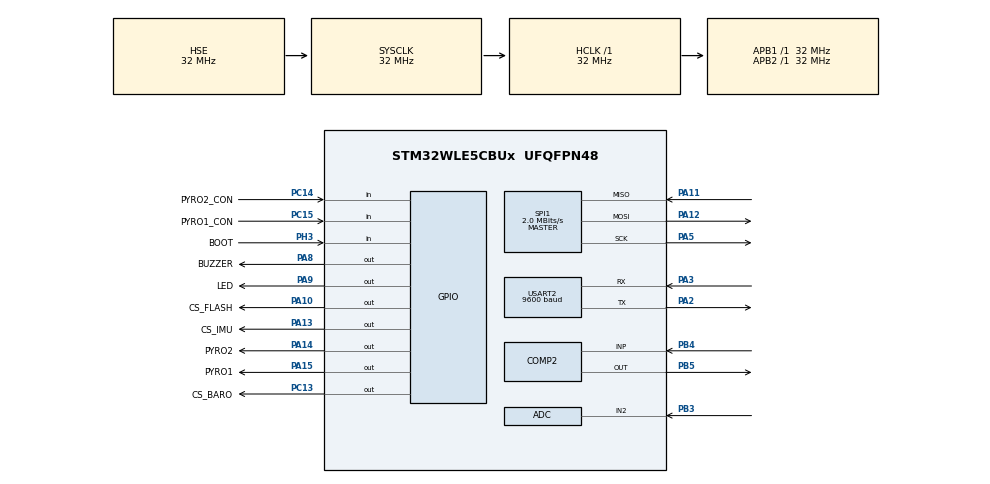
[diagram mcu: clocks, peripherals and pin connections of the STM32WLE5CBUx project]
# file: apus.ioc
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ADC.NbrOfConversion=1
ADC.SelectedChannel=ADC_CHANNEL_2|ADC_CHANNEL_VBAT
COMP2.OutputPol=COMP_OUTPUTPOL_NONINVERTED
Mcu.Family=STM32WL
Mcu.Name=STM32WLE5CBUx
Mcu.Package=UFQFPN48
NVIC.PriorityGroup=NVIC_PRIORITYGROUP_4
OSC_IN.Mode=HSE-External-Oscillator
OSC_IN.Signal=RCC_OSC_IN
OSC_OUT.Mode=HSE-External-Oscillator
OSC_OUT.Signal=RCC_OSC_OUT
PA10.GPIO_Label=CS_FLASH
PA10.Signal=GPIO_Output
PA11.Mode=Full_Duplex_Master
PA11.Signal=SPI1_MISO
PA12.Mode=Full_Duplex_Master
PA12.Signal=SPI1_MOSI
PA13.GPIO_Label=CS_IMU
PA13.Signal=GPIO_Output
PA14.GPIO_Label=PYRO2
PA14.Signal=GPIO_Output
PA15.GPIO_Label=PYRO1
PA15.Signal=GPIO_Output
PA2.Mode=Asynchronous
PA2.Signal=USART2_TX
PA3.Mode=Asynchronous
PA3.Signal=USART2_RX
PA5.Mode=Full_Duplex_Master
PA5.Signal=SPI1_SCK
PA8.GPIO_Label=BUZZER
PA8.Signal=GPIO_Output
PA9.GPIO_Label=LED
PA9.Signal=GPIO_Output
PB3.Mode=IN2
PB3.Signal=ADC_IN2
PB4.Mode=INP
PB4.Signal=COMP2_INP
PB5.Mode=ExternalOutput
PB5.Signal=COMP2_OUT
PC13.GPIO_Label=CS_BARO
PC13.Signal=GPIO_Output
PC14-OSC32_IN.GPIO_Label=PYRO2_CON
PC14-OSC32_IN.Signal=GPIO_Input
PC15-OSC32_OUT.GPIO_Label=PYRO1_CON
PC15-OSC32_OUT.Signal=GPIO_Input
PH3-BOOT0.GPIO_Label=BOOT
PH3-BOOT0.Signal=GPIO_Input
ProjectManager.HeapSize=0x200
ProjectManager.StackSize=0x400
ProjectManager.TargetToolchain=STM32CubeIDE
RCC.AHBFreq_Value=32000000
RCC.APB1Freq_Value=32000000
RCC.APB1TimFreq_Value=32000000
RCC.APB2Freq_Value=32000000
RCC.APB2TimFreq_Value=32000000
RCC.APB3Freq_Value=32000000
RCC.CortexFreq_Value=32000000
RCC.HCLKFreq_Value=32000000
RCC.HSE_VALUE=32000000
RCC.HSI_VALUE=16000000
RCC.LSE_VALUE=32768
RCC.PLLM=RCC_PLLM_DIV2
RCC.PLLN=12
RCC.PLLR=RCC_PLLR_DIV8
RCC.PLLSourceVirtual=RCC_PLLSOURCE_HSE
RCC.SYSCLKFreq_VALUE=32000000
RCC.SYSCLKSource=RCC_SYSCLKSOURCE_HSE
RCC.VCOOutputFreq_Value=192000000
SPI1.BaudRatePrescaler=SPI_BAUDRATEPRESCALER_16
SPI1.CalculateBaudRate=2.0 MBits/s
SPI1.DataSize=SPI_DATASIZE_8BIT
SPI1.Direction=SPI_DIRECTION_2LINES
SPI1.Mode=SPI_MODE_MASTER
SPI1.VirtualType=VM_MASTER
SUBGHZ.BaudratePrescaler=SUBGHZSPI_BAUDRATEPRESCALER_2
TIM2.AutoReloadPreload=TIM_AUTORELOAD_PRELOAD_DISABLE
TIM2.Prescaler=32
USART2.BaudRate=9600
USART2.VirtualMode-Asynchronous=VM_ASYNC
VP_ADC_Vbat_Input.Mode=IN-Vbat
VP_COMP2_VS_VREFINT34.Mode=VREFINT_34
VP_CRC_VS_CRC.Mode=CRC_Activate
VP_SUBGHZ_VS_SUBGHZ.Mode=SUBGHZ_Activate
VP_TIM2_VS_ClockSourceINT.Mode=Internal
VP_VREFBUF_V_VREFBUF.Mode=HoldMode
VREFBUF.VoltageScaling=SYSCFG_VREFBUF_VOLTAGE_SCALE0
board=custom

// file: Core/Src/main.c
/* USER CODE BEGIN Header */
/**
 ******************************************************************************
 * @file           : main.c
 * @brief          : Main program body
 ******************************************************************************
 * @attention
 *
 * Copyright (c) 2023 STMicroelectronics.
 * All rights reserved.
 *
 * This software is licensed under terms that can be found in the LICENSE file
 * in the root directory of this software component.
 * If no LICENSE file comes with this software, it is provided AS-IS.
 *
 ******************************************************************************
 */
/* USER CODE END Header */
#include "main.h"

/* USER CODE BEGIN Includes */
#include <stdbool.h>
#include <string.h>
#include <math.h>
#include <stdio.h>

/* USER CODE END Includes */

ADC_HandleTypeDef hadc;

COMP_HandleTypeDef hcomp2;

CRC_HandleTypeDef hcrc;

SPI_HandleTypeDef hspi1;

SUBGHZ_HandleTypeDef hsubghz;

TIM_HandleTypeDef htim2;

UART_HandleTypeDef huart2;

void SystemClock_Config(void);
static void MX_GPIO_Init(void);
static void MX_ADC_Init(void);
static void MX_CRC_Init(void);
static void MX_COMP2_Init(void);
static void MX_SPI1_Init(void);
static void MX_USART2_UART_Init(void);
static void MX_TIM2_Init(void);
/* USER CODE BEGIN PFP */

void SetStandbyXOSC();
void SetPacketTypeLora();
void SetPacketTypeFSK();
uint32_t ComputeRfFreq(double frequencyMhz);
void SetRfFreq(uint32_t rfFreq);
void SetPaLowPower();
void SetPa22dB();
void SetTxPower(int8_t powerdBm);
void SetContinuousWave();
void SetTxInfinitePreamble();
void SetTx(uint32_t timeout);
void SetRx(uint32_t timeout);
void SetModulationParamsLora(const uint8_t params[4]);
void SetModulationParamsFSK(uint32_t bitrate, uint8_t pulseshape,
		uint8_t bandwidth, uint32_t freq_dev);
void SetPacketParamsLora(uint16_t preamble_length, bool header_fixed,
		uint8_t payload_length, bool crc_enabled, bool invert_iq);
void SetPacketParamsGeneric(uint16_t preamble_length,
		uint8_t preamble_det_length, uint8_t sync_length, uint8_t addr_comp,
		uint8_t pkt_type, uint8_t payloadlength, uint8_t crc_type,
		uint8_t whitening);
void FSKBeep(int8_t powerdBm, uint32_t toneHz, uint32_t lengthMs);
void CWBeep(int8_t powerdBm, uint32_t lengthMs);

/* USER CODE END PFP */

/* USER CODE BEGIN 0 */

// standard frequencies. Note: zero indexed.
const double LPD433[69] = { 433.075, 433.100, 433.125, 433.150, 433.175,
		433.200, 433.225, 433.250, 433.275,
		433.300, // 1-10
		433.325, 433.350, 433.375, 433.400, 433.425, 433.450, 433.475, 433.500,
		433.525,
		433.550, // 11-20
		433.575, 433.600, 433.625, 433.650, 433.675, 433.700, 433.725, 433.750,
		433.775,
		433.800, // 21-30
		433.825, 433.850, 433.875, 433.900, 433.925, 433.950, 433.975, 434.000,
		434.025,
		434.050, // 31-40
		434.075, 434.100, 434.125, 434.150, 434.175, 434.200, 434.225, 434.250,
		434.275,
		434.300, // 41-50
		434.325, 434.350, 434.375, 434.400, 434.425, 434.450, 434.475, 434.500,
		434.525,
		434.550, // 51-60
		434.575, 434.600, 434.625, 434.650, 434.675, 434.700, 434.725, 434.750,
		434.775           // 61-69
		};

const double PMR446[16] = { 446.00625, 446.01875, 446.03125, 446.04375,
		446.05625, // 1-5
		446.06875, 446.08125, 446.09375, 446.10625, 446.11875, // 6-10
		446.13125, 446.14375, 446.15625, 446.16875, 446.18125, // 11-15
		446.19375 // 16
		};

const double FRS[22] = { 462.5625, 462.5875, 462.6125, 462.6375, 462.6625,
		462.6875, 462.7125, 467.5625, 467.5875,
		467.6125, // 1-10
		467.6375, 467.6625, 467.6875, 467.7125, 462.5500, 462.5750, 462.6000,
		462.6250, 462.6500, 462.6750, // 11-20
		462.7000, 462.7250 // 21-22
		};

// letter to morse based on ASCII characters.
// right-terminated by a "1". 1 is dah, 0 is dit.
const uint8_t morse_chars[] = { 0b11111111,       // Special code for SPACE
		0b10000000,       // N/A
		0b10000000,       // N/A
		0b10000000,       // N/A
		0b10000000,       // N/A
		0b10000000,       // N/A
		0b10000000,       // N/A
		0b10000000,       // N/A
		0b10000000,       // N/A
		0b10000000,       // N/A
		0b10000000,       // N/A
		0b10000000,       // N/A
		0b10000000,       // N/A
		0b10000110,       // - Hyphen sign
		0b10000000,       // N/A
		0b10010100,       // "/" Slash
		0b11111100,       // "0"
		0b01111100,       // "1"
		0b00111100,       // "2"
		0b00011100,       // "3"
		0b00001100,       // "4"
		0b00000100,       // "5"
		0b10000100,       // "6"
		0b11000100,       // "7"
		0b11100100,       // "8"
		0b11110100,       // "9"
		0b10000000,       // N/A
		0b10000000,       // N/A
		0b10000000,       // N/A
		0b10001100,       // "=" BT prosign/Equal sign
		0b10000000,       // N/A
		0b00110010,       // "?" Question mark
		0b10000000,       // N/A
		0b01100000,       // "A"
		0b10001000,       // "B"
		0b10101000,       // "C"
		0b10010000,       // "D"
		0b01000000,       // "E"
		0b00101000,       // "F"
		0b11010000,       // "G"
		0b00001000,       // "H"
		0b00100000,       // "I"
		0b01111000,       // "J"
		0b10110000,       // "K"
		0b01001000,       // "L"
		0b11100000,       // "M"
		0b10100000,       // "N"
		0b11110000,       // "O"
		0b01101000,       // "P"
		0b11011000,       // "Q"
		0b01010000,       // "R"
		0b00010000,       // "S"
		0b11000000,       // "T"
		0b00110000,       // "U"
		0b00011000,       // "V"
		0b01110000,       // "W"
		0b10011000,       // "X"
		0b10111000,       // "Y"
		0b11001000,       // "Z"
		0b10000000,       // N/A
		0b10000000,       // N/A
		0b10000000,       // N/A
		0b10000000,       // N/A
		0b10000000,       // N/A
		0b10000000,       // N/A
		0b01100000,       // "a"
		0b10001000,       // "b"
		0b10101000,       // "c"
		0b10010000,       // "d"
		0b01000000,       // "e"
		0b00101000,       // "f"
		0b11010000,       // "g"
		0b00001000,       // "h"
		0b00100000,       // "i"
		0b01111000,       // "j"
		0b10110000,       // "k"
		0b01001000,       // "l"
		0b11100000,       // "m"
		0b10100000,       // "n"
		0b11110000,       // "o"
		0b01101000,       // "p"
		0b11011000,       // "q"
		0b01010000,       // "r"
		0b00010000,       // "s"
		0b11000000,       // "t"
		0b00110000,       // "u"
		0b00011000,       // "v"
		0b01110000,       // "w"
		0b10011000,       // "x"
		0b10111000,       // "y"
		0b11001000        // "z"
		};

void LED_on() {
	HAL_GPIO_WritePin(LED_GPIO_Port, LED_Pin, GPIO_PIN_SET);
}
void LED_off() {
	HAL_GPIO_WritePin(LED_GPIO_Port, LED_Pin, GPIO_PIN_RESET);
}

void BUZZER_on() {
	HAL_GPIO_WritePin(BUZZER_GPIO_Port, BUZZER_Pin, GPIO_PIN_SET);
}
void BUZZER_off() {
	HAL_GPIO_WritePin(BUZZER_GPIO_Port, BUZZER_Pin, GPIO_PIN_RESET);
}

// https://en.wikipedia.org/wiki/Morse_code#/media/File:International_Morse_Code.svg
uint32_t morse_unit_ms = 70;
int8_t morse_power = 10;

void play_morse_char(uint8_t ascii_letter, bool use_cw) {
	uint8_t morse_code = 0b11111111;
	if (ascii_letter > 31 && ascii_letter < 123) {
		morse_code = morse_chars[ascii_letter - 32];
	}

	// space
	if (morse_code == 0b11111111) {
		if (use_cw) {
			HAL_Delay(morse_unit_ms);
		} else {
			//FSKBeep(morse_power, 750, morse_unit_ms);
			HAL_Delay(morse_unit_ms);
		}
		return;
	}
	uint8_t terminatelen = 0;
	for (uint8_t idx = 0; idx < 8; idx++) {
		if (morse_code & (1 << idx)) {
			terminatelen = idx;
			break;
		}
	}

	for (uint8_t i = 7; i > terminatelen; i--) {
		LED_on();
		if (morse_code & (1 << i)) {
			// make dat
			//printf("-");
			if (use_cw) {
				CWBeep(morse_power, morse_unit_ms * 3);
			} else {
				FSKBeep(morse_power, 400, morse_unit_ms * 3);
			}
		} else {
			// make dit
			//printf(".");
			if (use_cw) {
				CWBeep(morse_power, morse_unit_ms);
			} else {
				FSKBeep(morse_power, 400, morse_unit_ms);
			}
		}
		LED_off();

		// Make delay.
		if (use_cw) {
			HAL_Delay(morse_unit_ms);
		} else {
			HAL_Delay(morse_unit_ms);
			//CWBeep(morse_power, morse_unit_ms);
		}
	}
}

void play_morse_word(uint8_t *letters, uint8_t len, bool use_cw) {
	for (uint8_t i = 0; i < len; i++) {
		play_morse_char(letters[i], use_cw);

		// Space between letters
		if (use_cw) {
			HAL_Delay(morse_unit_ms * 3);
		} else {
			//CWBeep(morse_power, morse_unit_ms);
			HAL_Delay(morse_unit_ms * 3);
		}
	}
}

void rx_test(bool is_tx) {
	LED_on();
	HAL_Delay(100);
	LED_off();
	SetStandbyXOSC();
	HAL_Delay(1);
	SetPacketTypeLora();
	HAL_Delay(1);
	SetRfFreq(ComputeRfFreq(433.250));

	//SetPaLowPower(); // For powers up to 14 dBm
	SetPa22dB(); // Allows powers up to 22 dBm
	HAL_Delay(1);
	SetTxPower(-9);
	HAL_Delay(1);
	uint8_t LORA_SF12_BW62_CR45[4] = { 0x0C, 0x03, 0x01, 0x00 };
	SetModulationParamsLora(LORA_SF12_BW62_CR45);
	HAL_Delay(1);

	SetPacketParamsLora(4, true, 4, true, false); // Send 4 bytes
	HAL_Delay(1);
	uint8_t buffer[4] = { 0x00, 0x00, 0x00, 0x00 };
	HAL_SUBGHZ_WriteBuffer(&hsubghz, 0, buffer, 4);

	while (1) {
		if (is_tx) {
			buffer[0] = 0x04; // Led ON
			HAL_SUBGHZ_WriteBuffer(&hsubghz, 0, buffer, 4);
			HAL_Delay(1);
			SetTx(0);
			LED_on();
			HAL_Delay(1000);

		} else {
			SetRx(0);
			HAL_Delay(100);
			HAL_SUBGHZ_ReadBuffer(&hsubghz, 0, buffer, 4);
			if (buffer[0] == 0x04) {
				LED_on();

			} else {
				LED_off();
			}
		}
	}

}

/*! @name  Global array that stores the configuration file of BMI270 */
const uint8_t bmi270_maximum_fifo_config_file[] = { 0xc8, 0x2e, 0x00, 0x2e,
		0x80, 0x2e, 0x1a, 0x00, 0xc8, 0x2e, 0x00, 0x2e, 0xc8, 0x2e, 0x00, 0x2e,
		0xc8, 0x2e, 0x00, 0x2e, 0xc8, 0x2e, 0x00, 0x2e, 0xc8, 0x2e, 0x00, 0x2e,
		0xc8, 0x2e, 0x00, 0x2e, 0x90, 0x32, 0x21, 0x2e, 0x59, 0xf5, 0x10, 0x30,
		0x21, 0x2e, 0x6a, 0xf5, 0x1a, 0x24, 0x22, 0x00, 0x80, 0x2e, 0x3b, 0x00,
		0xc8, 0x2e, 0x44, 0x47, 0x22, 0x00, 0x37, 0x00, 0xa4, 0x00, 0xff, 0x0f,
		0xd1, 0x00, 0x07, 0xad, 0x80, 0x2e, 0x00, 0xc1, 0x80, 0x2e, 0x00, 0xc1,
		0x80, 0x2e, 0x00, 0xc1, 0x80, 0x2e, 0x00, 0xc1, 0x80, 0x2e, 0x00, 0xc1,
		0x80, 0x2e, 0x00, 0xc1, 0x80, 0x2e, 0x00, 0xc1, 0x80, 0x2e, 0x00, 0xc1,
		0x80, 0x2e, 0x00, 0xc1, 0x80, 0x2e, 0x00, 0xc1, 0x80, 0x2e, 0x00, 0xc1,
		0x00, 0x00, 0x00, 0x00, 0x00, 0x00, 0x11, 0x24, 0xfc, 0xf5, 0x80, 0x30,
		0x40, 0x42, 0x50, 0x50, 0x00, 0x30, 0x12, 0x24, 0xeb, 0x00, 0x03, 0x30,
		0x00, 0x2e, 0xc1, 0x86, 0x5a, 0x0e, 0xfb, 0x2f, 0x21, 0x2e, 0xfc, 0xf5,
		0x13, 0x24, 0x63, 0xf5, 0xe0, 0x3c, 0x48, 0x00, 0x22, 0x30, 0xf7, 0x80,
		0xc2, 0x42, 0xe1, 0x7f, 0x3a, 0x25, 0xfc, 0x86, 0xf0, 0x7f, 0x41, 0x33,
		0x98, 0x2e, 0xc2, 0xc4, 0xd6, 0x6f, 0xf1, 0x30, 0xf1, 0x08, 0xc4, 0x6f,
		0x11, 0x24, 0xff, 0x03, 0x12, 0x24, 0x00, 0xfc, 0x61, 0x09, 0xa2, 0x08,
		0x36, 0xbe, 0x2a, 0xb9, 0x13, 0x24, 0x38, 0x00, 0x64, 0xbb, 0xd1, 0xbe,
		0x94, 0x0a, 0x71, 0x08, 0xd5, 0x42, 0x21, 0xbd, 0x91, 0xbc, 0xd2, 0x42,
		0xc1, 0x42, 0x00, 0xb2, 0xfe, 0x82, 0x05, 0x2f, 0x50, 0x30, 0x21, 0x2e,
		0x21, 0xf2, 0x00, 0x2e, 0x00, 0x2e, 0xd0, 0x2e, 0xf0, 0x6f, 0x02, 0x30,
		0x02, 0x42, 0x20, 0x26, 0xe0, 0x6f, 0x02, 0x31, 0x03, 0x40, 0x9a, 0x0a,
		0x02, 0x42, 0xf0, 0x37, 0x05, 0x2e, 0x5e, 0xf7, 0x10, 0x08, 0x12, 0x24,
		0x1e, 0xf2, 0x80, 0x42, 0x83, 0x84, 0xf1, 0x7f, 0x0a, 0x25, 0x13, 0x30,
		0x83, 0x42, 0x3b, 0x82, 0xf0, 0x6f, 0x00, 0x2e, 0x00, 0x2e, 0xd0, 0x2e,
		0x12, 0x40, 0x52, 0x42, 0x00, 0x2e, 0x12, 0x40, 0x52, 0x42, 0x3e, 0x84,
		0x00, 0x40, 0x40, 0x42, 0x7e, 0x82, 0xe1, 0x7f, 0xf2, 0x7f, 0x98, 0x2e,
		0x6a, 0xd6, 0x21, 0x30, 0x23, 0x2e, 0x61, 0xf5, 0xeb, 0x2c, 0xe1, 0x6f };
#define IMU_READ_FLAG 0x80

typedef struct {
	SPI_HandleTypeDef *hspi;
	GPIO_TypeDef *cs_gpio_port;
	uint16_t cs_pin;

	uint8_t txbuf[14];
	uint8_t rxbuf[14];

	int16_t gyro_raw[3];
	int16_t acc_raw[3];

	float gyroRPS[3];
	float accMPS[3];
} BMI270;

static inline void BMI270_Wait(void) {
	__NOP();
	__NOP();
	__NOP();
	__NOP();
	__NOP();__NOP(); // At least 40 ns
}

uint8_t BMI270_ReadRegister(BMI270 *imu, uint8_t reg) {
	uint8_t txbuf[3] = { IMU_READ_FLAG | reg, 0x00, 0x00 };
	uint8_t rxbuf[3] = { 0 };

	HAL_GPIO_WritePin(imu->cs_gpio_port, imu->cs_pin, GPIO_PIN_RESET);
	BMI270_Wait();
	HAL_SPI_TransmitReceive(imu->hspi, txbuf, rxbuf, 3, HAL_MAX_DELAY);
	BMI270_Wait();
	HAL_GPIO_WritePin(imu->cs_gpio_port, imu->cs_pin, GPIO_PIN_SET);

	return rxbuf[2];
}

void BMI270_WriteRegister(BMI270 *imu, uint8_t reg, uint8_t data) {
	uint8_t txbuf[2] = { reg, data };
	uint8_t rxbuf[2] = { 0 };

	HAL_GPIO_WritePin(imu->cs_gpio_port, imu->cs_pin, GPIO_PIN_RESET);
	BMI270_Wait();
	HAL_SPI_TransmitReceive(imu->hspi, txbuf, rxbuf, 2, HAL_MAX_DELAY);
	BMI270_Wait();
	HAL_GPIO_WritePin(imu->cs_gpio_port, imu->cs_pin, GPIO_PIN_SET);
}

void BMI270_WriteConfig(BMI270 *imu) {
	uint8_t txbuf[1] = { 0x5E };
	uint8_t rxbuf[1] = { 0 };

	HAL_GPIO_WritePin(imu->cs_gpio_port, imu->cs_pin, GPIO_PIN_RESET);
	BMI270_Wait();
	HAL_SPI_TransmitReceive(imu->hspi, txbuf, rxbuf, 1, HAL_MAX_DELAY);
	HAL_SPI_Transmit(imu->hspi, bmi270_maximum_fifo_config_file,
			sizeof(bmi270_maximum_fifo_config_file), HAL_MAX_DELAY);
	BMI270_Wait();
	HAL_GPIO_WritePin(imu->cs_gpio_port, imu->cs_pin, GPIO_PIN_SET);
	BMI270_Wait();
}

void BMI270_Init(BMI270 *imu, SPI_HandleTypeDef *hspi, GPIO_TypeDef *cs_gpio,
		uint16_t cs_pin) {
	imu->hspi = hspi;
	imu->cs_gpio_port = cs_gpio;
	imu->cs_pin = cs_pin;

	HAL_Delay(20);
	BMI270_ReadRegister(imu, 0x00); // SPI dummy read
	HAL_Delay(10);

	BMI270_WriteRegister(imu, 0x7C, 0x00); // Disable power config
	HAL_Delay(1);
	BMI270_WriteRegister(imu, 0x59, 0x00); // Prepare config load
	HAL_Delay(1);
	BMI270_WriteConfig(imu);
	HAL_Delay(1);
	BMI270_WriteRegister(imu, 0x59, 0x01); // Complete config
	HAL_Delay(50);

	BMI270_WriteRegister(imu, 0x7D, 0x0E); // Enable accel, gyro, temp
	HAL_Delay(1);
	BMI270_WriteRegister(imu, 0x40, 0b10101100);
	HAL_Delay(1);
	BMI270_WriteRegister(imu, 0x42, 0b11101101);
	HAL_Delay(1);
	BMI270_WriteRegister(imu, 0x7C, 0x02); // Disable power saving
	HAL_Delay(1);
	BMI270_WriteRegister(imu, 0x43, 0x00); // Set gyro range to +/-2000dps
	HAL_Delay(1);
	BMI270_WriteRegister(imu, 0x41, 0x03); // Set acc range to +/- 16g

	imu->txbuf[0] = IMU_READ_FLAG | 0x0C;
}

void BMI270_ReadGyroAccRaw(BMI270 *imu) {
	HAL_GPIO_WritePin(imu->cs_gpio_port, imu->cs_pin, GPIO_PIN_RESET);
	BMI270_Wait();
	HAL_SPI_TransmitReceive(imu->hspi, imu->txbuf, imu->rxbuf, 14,
	HAL_MAX_DELAY);
	BMI270_Wait();
	HAL_GPIO_WritePin(imu->cs_gpio_port, imu->cs_pin, GPIO_PIN_SET);

	imu->gyro_raw[0] = (int16_t) (imu->rxbuf[9] << 8 | imu->rxbuf[8]);
	imu->gyro_raw[1] = (int16_t) (imu->rxbuf[11] << 8 | imu->rxbuf[10]);
	imu->gyro_raw[2] = (int16_t) (imu->rxbuf[13] << 8 | imu->rxbuf[12]);

	imu->acc_raw[0] = (int16_t) (imu->rxbuf[3] << 8 | imu->rxbuf[2]);
	imu->acc_raw[1] = (int16_t) (imu->rxbuf[5] << 8 | imu->rxbuf[4]);
	imu->acc_raw[2] = (int16_t) (imu->rxbuf[7] << 8 | imu->rxbuf[6]);
}

void BMI270_ConvertGyroAccToFloat(BMI270 *imu) {
	imu->gyroRPS[0] = (float) imu->gyro_raw[0] * 0.00106422515f;
	imu->gyroRPS[1] = (float) imu->gyro_raw[1] * 0.00106422515f;
	imu->gyroRPS[2] = (float) imu->gyro_raw[2] * 0.00106422515f;

	imu->accMPS[0] = (float) imu->acc_raw[0] * 0.00478840332f;
	imu->accMPS[1] = (float) imu->acc_raw[1] * 0.00478840332f;
	imu->accMPS[2] = (float) imu->acc_raw[2] * 0.00478840332f;
}

typedef struct {
	SPI_HandleTypeDef *hspi;
	GPIO_TypeDef *cs_gpio_port;
	uint16_t cs_pin;

	uint8_t txbuf[14];
	uint8_t rxbuf[14];

	// Calibration
	unsigned int C1, C2, C3, C4, C5, C6;
	uint32_t pres_raw; // raw pressure

} MS5607;

static inline void MS5607_Wait(void) {
	__NOP();
	__NOP();
	__NOP();
	__NOP();
	__NOP();__NOP(); // At least 40 ns
}

void MS5607_Init(MS5607 *baro, SPI_HandleTypeDef *hspi, GPIO_TypeDef *cs_gpio,
		uint16_t cs_pin) {
	baro->hspi = hspi;
	baro->cs_gpio_port = cs_gpio;
	baro->cs_pin = cs_pin;

	// Perform reset
	uint8_t txbuf[1] = { 0x1E };
	uint8_t rxbuf[1] = { 0 };

	HAL_GPIO_WritePin(baro->cs_gpio_port, baro->cs_pin, GPIO_PIN_RESET);
	MS5607_Wait();
	HAL_SPI_TransmitReceive(baro->hspi, txbuf, rxbuf, 1, HAL_MAX_DELAY);
	HAL_GPIO_WritePin(baro->cs_gpio_port, baro->cs_pin, GPIO_PIN_SET);
	HAL_Delay(3);
}

void MS5607_Read_Blocking(MS5607 *baro) {
	uint8_t txbuf1[1] = { 0x48 }; // 0x48 = 4096 OSR
	uint8_t rxbuf1[1] = { 0 };

	HAL_GPIO_WritePin(baro->cs_gpio_port, baro->cs_pin, GPIO_PIN_RESET);
	MS5607_Wait();
	HAL_SPI_TransmitReceive(baro->hspi, txbuf1, rxbuf1, 1, HAL_MAX_DELAY);
	HAL_GPIO_WritePin(baro->cs_gpio_port, baro->cs_pin, GPIO_PIN_SET);

	// Wait for conversion
	HAL_Delay(9);

	uint8_t txbuf[4] = { 0x00, 0x00, 0x00, 0x00 };
	uint8_t rxbuf[4];

	HAL_GPIO_WritePin(baro->cs_gpio_port, baro->cs_pin, GPIO_PIN_RESET);
	MS5607_Wait();
	HAL_SPI_TransmitReceive(baro->hspi, txbuf, rxbuf, 4, HAL_MAX_DELAY);
	HAL_GPIO_WritePin(baro->cs_gpio_port, baro->cs_pin, GPIO_PIN_SET);
	baro->pres_raw = ((uint32_t) rxbuf[1]) << 16 | ((uint32_t) rxbuf[2]) << 8
			| ((uint32_t) rxbuf[3]);
}

void delay_cycles(uint32_t cycles) {
	for (int i = 0; i < cycles; i++) {
		asm("NOP");
	}
}

static uint16_t sysCRC16(const uint8_t *buffer, uint16_t length, uint16_t crc) {
	uint8_t i, bit, value;

	for (i = 0; i < length; ++i) {
		value = buffer[i];

		for (bit = 0; bit < 8; ++bit) {
			crc ^= (value & 0x01);
			crc = (crc & 0x01) ? (crc >> 1) ^ 0x8408 : (crc >> 1);
			value = value >> 1;
		} // END for
	} // END for

	return crc ^ 0xffff;
}

#define SUBGHZ_GPKTCTL1AR 0x6B8
#define SUBGHZ_GRTXPLDLEN 0x6BB
#define SUBGHZ_TXADRPTR 0x0802
void long_packet_test(double frequency) {
	// Only on revision Y
	// Partly based on https://github.com/stm32duino/STM32LoRaWAN/blob/6c1e985596f342f5ac2d202c04fbefe2f0643585/src/STM32CubeWL/SubGHz_Phy/stm32_radio_driver/radio_fw.c#L260
	if (LL_DBGMCU_GetRevisionID() < 0x1003) {
		return;
	}

	BMI270 imu;
	BMI270_Init(&imu, &hspi1, CS_IMU_GPIO_Port, CS_IMU_Pin);

	HAL_Delay(10);
	// Read raw gyro and accelerometer data
	BMI270_ReadGyroAccRaw(&imu);
	HAL_Delay(10);
	// Convert raw data to meaningful values
	BMI270_ConvertGyroAccToFloat(&imu);
	HAL_Delay(10);

	uint8_t raw_data[2048]; // Max buffer size

	char dest_address[] = "NOCALL1";
	char source_address[] = "NOCALL7";
	char addressee[] = "YOU"; // Will be padded to 9 chars
	char message[128];
	snprintf(message, 128,
			":%-9s:Hi From Apus:D, ax:%.2f, ay:%.2f, az:%.2f",
			addressee, imu.accMPS[0], imu.accMPS[1], imu.accMPS[2]);
	//char message[] = "Hello world from Apus! This screenshot required: C>Python>C>Apus>Radio>Mic>APRS Decoder. AccX:";

	char content_formatted[256];
	uint16_t content_pointer = 0;

	for (int i = 0; i < strlen(dest_address); i++) {
		content_formatted[content_pointer++] = dest_address[i] << 1;
	}

	for (int i = 0; i < (strlen(source_address) - 1); i++) {
		content_formatted[content_pointer++] = source_address[i] << 1;
	}

	// Set LSB
	content_formatted[content_pointer++] = (source_address[strlen(
			source_address) - 1] << 1) | 0x01;

	//
	content_formatted[content_pointer++] = 0x03; // Control Field
	content_formatted[content_pointer++] = 0xF0; // Protocol ID

	for (int i = 0; i < strlen(message); i++) {
		content_formatted[content_pointer++] = message[i];
	}

	uint16_t crc;
	crc = sysCRC16((uint8_t *)content_formatted, content_pointer, 0xffff);

	content_formatted[content_pointer++] = ((crc) & 0xFF);
	content_formatted[content_pointer++] = ((crc >> 8) & 0xFF);

	// Numerically controlled oscillator
	uint16_t NCO_accumulator = 0;
	uint16_t NCO_addition = 0x2000;
	uint16_t delta_1200 = 0x2000;
	uint16_t delta_2200 = 0x3aab;

	bool tncTxBit = true; // The bit being transmitted. True = 1, false = 0
	uint8_t ones_counter = 0; // Keep track of number if stuffing is needed (5 ones in a row)

	//SetTxInfinitePreamble();

	uint32_t byte_counter = 0;
	uint8_t bit_counter = 7;

	for (int i = 0; i < sizeof(raw_data); i++) {
		raw_data[i] = 0x00;
	}

	void add_bit() {
		// Add one bit to the transmit buffer

		// Transmits a bit with a NCO
		for (int sample = 0; sample < 8; sample++) {
			// Wait until correct cycle
			NCO_accumulator += NCO_addition;
			uint8_t osc_mag = (NCO_accumulator >> 15) & 0b00000001;

			raw_data[byte_counter] |= ((uint8_t) osc_mag & 0x01) << bit_counter;

			bit_counter -= 1;

			if (bit_counter == 255) { // If -1, then loop around
				byte_counter += 1;
				bit_counter = 7;
			}

		}
	}

	uint8_t flag = 0x7E; // Frame marker
	for (int i = 0; i < 30; i++) {
		for (int bit = 0; bit < 8; bit++) {
			if ((flag >> bit) & 0x01) {
				ones_counter += 1;
			} else {
				tncTxBit = !tncTxBit; // Flip
				ones_counter = 0;
			}

			NCO_addition = tncTxBit ? delta_1200 : delta_2200;
			add_bit();
		}
	}

	// Actual frame data

	for (int byte = 0; byte < content_pointer; byte++) {
		for (int bit = 0; bit < 8; bit++) {
			if (((content_formatted[byte] >> bit) & 0x01) == 0x01) {
				ones_counter += 1;
			} else {
				tncTxBit = !tncTxBit;
				ones_counter = 0;
			}

			NCO_addition = tncTxBit ? delta_1200 : delta_2200;
			add_bit();

			// If bit stuffing is needed
			if (ones_counter == 5) {
				tncTxBit = !tncTxBit;
				ones_counter = 0;
				NCO_addition = tncTxBit ? delta_1200 : delta_2200;

				add_bit();
			}
		}
	}

	// End frame marker
	for (int i = 0; i < 30; i++) {
		for (int bit = 0; bit < 8; bit++) {
			if ((flag >> bit) & 0x01) {
				ones_counter += 1;
			} else {
				tncTxBit = !tncTxBit; //Flip
				ones_counter = 0;
			}

			NCO_addition = tncTxBit ? delta_1200 : delta_2200;
			add_bit();
		}
	}

	HAL_Delay(1);

	// THE ACTUAL TRANSMISSION STUFF
	uint32_t bitrate = 9600; // bits per second
	uint32_t delay_127_us = 1000000 * 128 * 8 / bitrate; // Delay for 127 bytes

	for (int repeat = 0; repeat < 1; repeat++) {

		SetRfFreq(ComputeRfFreq(frequency));

		SetPacketTypeFSK();
		SetModulationParamsFSK(bitrate, 0x09, 0x1E, 2500); // For some rason bitrate of 9600 is 1.13x too slow...
		SetPacketParamsGeneric(32, 0, 0, 0, 0, 255, 1, 0); // Disable everything

		uint32_t last_time = __HAL_TIM_GET_COUNTER(&htim2);

		uint8_t read_ptr = 0;
		uint8_t write_ptr = 0;

		// Set buffer base addresses to zero
		uint8_t txbuf[3] = { 0x8F, 0, 0 };
		HAL_SUBGHZ_ExecSetCmd(&hsubghz, txbuf[0], txbuf + 1, sizeof(txbuf) - 1);
		HAL_SUBGHZ_WriteRegister(&hsubghz, SUBGHZ_TXADRPTR, 0);

		// Fill initially
		HAL_SUBGHZ_WriteBuffer(&hsubghz, 0, raw_data, 255);

		// See https://github.com/stm32duino/STM32LoRaWAN/blob/6c1e985596f342f5ac2d202c04fbefe2f0643585/src/STM32CubeWL/SubGHz_Phy/stm32_radio_driver/radio_fw.c#L741

		uint8_t RadioBufferOffset = 0; // Initial chunk sent

		SetStandbyXOSC();
		HAL_Delay(1);
		SetTx(0);

		//Enable infinite sequence
		uint8_t reg;
		HAL_SUBGHZ_ReadRegister(&hsubghz, SUBGHZ_GPKTCTL1AR, &reg);
		HAL_SUBGHZ_WriteRegister(&hsubghz, SUBGHZ_GPKTCTL1AR, reg | 0x02);

		//HAL_SUBGHZ_WriteRegister(&hsubghz, SUBGHZ_GPKTCTL1AR, 0x00000010); // Enable infinite sequence
		uint16_t sent_offset = 255; // Initial chunk

		for (int i = 0; i < 100; i++) {
			while ((__HAL_TIM_GET_COUNTER(&htim2) - last_time) < delay_127_us) {
			}
			last_time = __HAL_TIM_GET_COUNTER(&htim2);

			/*
			 HAL_SUBGHZ_ReadRegister(&hsubghz, SUBGHZ_TXADRPTR , &read_ptr);
			 HAL_SUBGHZ_ReadRegister(&hsubghz, SUBGHZ_GRTXPLDLEN, &write_ptr);

			 //current_payload_length = read_ptr - 128; // Loop around
			 current_buffer_location = current_payload_length;
			 current_payload_length += 100;
			 HAL_SUBGHZ_WriteBuffer(&hsubghz, write_ptr, raw_data + 512, 100);
			 //current_buffer_location += 127;
			 HAL_SUBGHZ_WriteRegister(&hsubghz, SUBGHZ_GRTXPLDLEN, write_ptr + 100);
			 //SetPacketParamsGeneric(32, 0, 0, 0, 0, current_payload_length, 1, 0);

			 */

			uint8_t chunk_size;
			/*records how much has been sent*/
			HAL_SUBGHZ_ReadRegister(&hsubghz, SUBGHZ_TXADRPTR, &read_ptr);
			HAL_SUBGHZ_ReadRegister(&hsubghz, SUBGHZ_GRTXPLDLEN, &write_ptr);

			/*calculates how much bytes were sent since previous radio loading*/
			uint8_t bytes_sent = read_ptr - RadioBufferOffset;
			/*bytes already loaded in the radio to send*/
			uint8_t bytes_loaded = write_ptr - read_ptr;

			/* Update offset tx, intentional wrap around*/
			RadioBufferOffset += bytes_sent;

			/*last chunk to send*/

			chunk_size = bytes_sent; // Fully fill

			/*write next chunk*/

			HAL_SUBGHZ_WriteBuffer(&hsubghz, write_ptr, raw_data + sent_offset,
					chunk_size);

			/*update end ptr*/
			HAL_SUBGHZ_WriteRegister(&hsubghz, SUBGHZ_GRTXPLDLEN,
					(uint8_t) (chunk_size + write_ptr));

			if (sent_offset > byte_counter) {
				break;
			}
			sent_offset += chunk_size;

			LED_on();

			HAL_Delay(1);

			LED_off();
		}
	}
}

/* USER CODE END 0 */

int main(void) {

	/* MCU Configuration--------------------------------------------------------*/

	/* Reset of all peripherals, Initializes the Flash interface and the Systick. */
	HAL_Init();

	/* Configure the system clock */
	SystemClock_Config();

	/* Initialize all configured peripherals */
	MX_GPIO_Init();
	MX_ADC_Init();
	MX_CRC_Init();
	MX_COMP2_Init();
	MX_SPI1_Init();
	MX_USART2_UART_Init();
	MX_TIM2_Init();
	/* USER CODE BEGIN 2 */
	MX_SUBGHZ_Init();

	// Enable timer 2
	HAL_TIM_Base_Start(&htim2);

	// ==========================================
	//      START CHANGING SETTINGS HERE
	// ==========================================
	// Frequency setting in MHz
	// Can be a "standard" frequency, e.g. center_freq = LPD433[20-1]; sets it to LPD433 channel 20 (zero indexed) = 433.550 MHz
	double center_freq = 433.200;

	// max power in dBm, valid values between -9 and 22;
	// If using coin cell batteries, values above 16 dBm are not recommended without testing due to current limitations.
	// Alternatively use external LiPo power
	int maxPower = 0;

	double freq_correction = 0.99999539941; // For tuning frequency

	bool CallsignTF = false;
	uint8_t callsign[] = "nocall";

	int CallsignPeriod = 300; // seconds

	// Continuous Wave (CW) settings
	bool CWbeep = false;
	int CWbeepcount = 4;
	bool CWHigh2Low = true; //if true, start with highest power beep, decrease from there
	int CWbeepOffset = 150; //Hertz
	int CWbeepIndLength = 20; //milliseconds
	int CWbeepGapLength = 20; //milliseconds

	// Frequency-shift keying (FSK) settings. Can be heard with FM receivers
	bool FSKbeep = true;
	int FSKbeepcount = 3;
	bool FSKHigh2Low = false; //if true, start with highest power beep, decrease from there. When true, it maximizes the power of the highest power beep, but makes it harder to read a visible signal indicator on later beeps.
	int FSKbeepIndLength = 250; //milliseconds
	int FSKbeepGapLength = 50; //milliseconds
	bool CustomFSKtones = false;
	int CustomFSKfrequencies[] = { 320, 400, 480, 640 }; // Must match the length exactly!

	int Period = 2000; //milliseconds
	int StartupWait = 5000; // initial start. A few seconds to allow coin cell batteries to recover in case of brownout resets.

	// Set up pins
	HAL_GPIO_WritePin(CS_BARO_GPIO_Port, CS_BARO_Pin, GPIO_PIN_SET);
	HAL_GPIO_WritePin(CS_FLASH_GPIO_Port, CS_FLASH_Pin, GPIO_PIN_SET);
	HAL_GPIO_WritePin(CS_IMU_GPIO_Port, CS_IMU_Pin, GPIO_PIN_SET);

	// BMI270 instance
	BMI270 imu;
	BMI270_Init(&imu, &hspi1, CS_IMU_GPIO_Port, CS_IMU_Pin);

	// Barometer
	MS5607 baro;
	MS5607_Init(&baro, &hspi1, CS_BARO_GPIO_Port, CS_BARO_Pin);

	char printbuffer[128];

	// ==========================================
	//      STOP CHANGING SETTINGS HERE
	// ==========================================

	//EE_Status ee_status = EE_OK;
	LED_on();
	HAL_Delay(StartupWait);
	LED_off();
	SetStandbyXOSC();
	HAL_Delay(1);
	SetPacketTypeLora();
	HAL_Delay(1);

	//SetPaLowPower(); // For powers up to 14 dBm
	SetPa22dB(); // Allows powers up to 22 dBm
	HAL_Delay(1);
	SetTxPower(-9);
	HAL_Delay(1);

	SetPacketTypeFSK();

	SetModulationParamsFSK(2000, 0x09, 0x1E, 2500);

	//  int FSKtones[12] = {400, 350, 300, 250, 200, 150, 1600, 2000, 2400, 3200, 4000, 4800};
	int FSKtones[FSKbeepcount];
	SetRfFreq(ComputeRfFreq(center_freq * freq_correction));

	memset(FSKtones, 0, sizeof(FSKtones));
	for (int i = 0; i < FSKbeepcount; i++) {
		int base = floor(i / 3);
		int mplr = 1 << base;
		FSKtones[i] = 320 * (1 + 0.25 * (i - 3 * floor(i / 3))) * mplr;
	}
	if (CustomFSKtones) {
		memcpy(FSKtones, CustomFSKfrequencies, sizeof(FSKtones));
	}

	/* USER CODE END 2 */

	/* Infinite loop */
	/* USER CODE BEGIN WHILE */

	while (1) {
		long_packet_test(433.200);
		HAL_Delay(3000);
	}

	/*
	 while (1) {
	 // Emulate comspec beacon at 40 mW
	 LED_on();
	 CWBeep(16, 50);
	 LED_off();
	 HAL_Delay(1000);
	 }*/

	int loopCounter = floor(CallsignPeriod * 1000 / Period);

	int gap = Period;
	if (FSKbeep) {
		gap = gap - (FSKbeepIndLength * FSKbeepcount);
		gap = gap - (FSKbeepGapLength * (FSKbeepcount - 1));
	}
	if (CWbeep) {
		gap = gap - (CWbeepIndLength * CWbeepcount);
		gap = gap - (CWbeepGapLength * (CWbeepcount - 1));
	}
	if (CWbeep && FSKbeep) {
		gap = gap / 2;
	}

	int FSKTXpwrs[FSKbeepcount];
	memset(FSKTXpwrs, 0, sizeof(FSKTXpwrs));
	if (FSKbeep) {
		int stepsize = 0;
		if (FSKbeepcount > 1) {
			stepsize = (31 - 22 + maxPower) / (FSKbeepcount - 1);
		}
		for (int i = 0; i < FSKbeepcount; i++) {
			FSKTXpwrs[i] = maxPower - stepsize * i;
		}
	}
	int CWTXpwrs[CWbeepcount];
	memset(CWTXpwrs, 0, sizeof(CWTXpwrs));
	if (CWbeep) {
		int stepsize = 0;
		if (CWbeepcount > 1) {
			stepsize = (31 - 22 + maxPower) / (CWbeepcount - 1);
		}
		for (int i = 0; i < CWbeepcount; i++) {
			CWTXpwrs[i] = maxPower - stepsize * i;
		}
	}

	while (0) {

		LED_on();
		BUZZER_on();
		HAL_Delay(10);
		BUZZER_off();
		HAL_Delay(190);
		LED_off();
		HAL_Delay(3000);

		// Read raw gyro and accelerometer data
		BMI270_ReadGyroAccRaw(&imu);

		// Convert raw data to meaningful values
		BMI270_ConvertGyroAccToFloat(&imu);

		// Example: Print values (replace with your debug method)
		snprintf(printbuffer, 128, "Gyro (RPS): X=%f, Y=%f, Z=%f\n",
				imu.gyroRPS[0], imu.gyroRPS[1], imu.gyroRPS[2]);
		HAL_UART_Transmit(&huart2, (uint8_t*) printbuffer, strlen(printbuffer),
		HAL_MAX_DELAY);

		snprintf(printbuffer, 128, "Acc (m/s²): X=%f, Y=%f, Z=%f\n",
				imu.accMPS[0], imu.accMPS[1], imu.accMPS[2]);
		HAL_UART_Transmit(&huart2, (uint8_t*) printbuffer, strlen(printbuffer),
		HAL_MAX_DELAY);

		snprintf(printbuffer, 128, "Testregister: %d\n",
				BMI270_ReadRegister(&imu, 0x6C));
		HAL_UART_Transmit(&huart2, (uint8_t*) printbuffer, strlen(printbuffer),
		HAL_MAX_DELAY);

		MS5607_Read_Blocking(&baro);
		snprintf(printbuffer, 128, "pres raw: %ld\n", baro.pres_raw);
		HAL_UART_Transmit(&huart2, (uint8_t*) printbuffer, strlen(printbuffer),
		HAL_MAX_DELAY);

		bool APRS = true;

		HAL_Delay(100); // Delay 100ms

		// Radio stuff
		if (APRS) {

			// https://notblackmagic.com/bitsnpieces/afsk/
			// https://hugosprojects.wordpress.com/2014/03/25/implementing-aprs-message-at-the-bit-level/
			// LSB transmitted first
			uint32_t tone_one = 1200 * 2;
			uint32_t tone_zero = 2200 * 2;
			uint32_t bitrate = 1200; // Bits per second
			/*
			 uint8_t aprs_data[] = {0x00,0x00,0x00,0x00,0x00,0x00,0x00,0x00,0x00,0x00,0x00,0x00,0x00,0x00,0x00,0x00,0x00,0x00,0x00,0x00,0x00,0x00,0x00,0x00,0x00,0x00,0x00,0x00, // Buffer
			 0x7E, 'N', '0', 'C', 'A', 'L', ' ', '1',
			 'N', '0', 'C', 'A', 'L', ' ', '7',
			 0x03, 0xF0, 'H', 'E', 'L', 'L', 'O', ' ', 'W', 'O', 'R', 'L', 'D', '!',
			 0xAA, 0xAA, // Frame check bytes, not calculated
			 0x7E, 0xFF, 0xFF, 0xFF, 0xFF, 0xFF, 0xFF, 0xFF, 0xFF, 0xFF, 0xFF, 0xFF, 0xFF, 0xFF, 0xFF, 0xFF, 0xFF, 0xFF, 0xFF, 0xFF, 0xFF, 0xFF, 0xFF, 0xFF}; // End of frame
			 */
			// Must be 7 characters long, with the SSID (number) on the 7th
			char dest_address[] = "NOCALL1";
			char source_address[] = "NOCALL7";
			char addressee[] = "YOU"; // Will be padded to 9 chars
			char message[128];
			snprintf(message, 128,
					":%-9s:Hello World from Apus! This required: C>Python>C>Apus>Radio>Mic>APRS Decoder. AccX:%.2f",
					addressee, imu.accMPS[0]);
			//char message[] = "Hello world from Apus! This screenshot required: C>Python>C>Apus>Radio>Mic>APRS Decoder. AccX:";

			char content_formatted[256];
			uint16_t content_pointer = 0;

			for (int i = 0; i < strlen(dest_address); i++) {
				content_formatted[content_pointer++] = dest_address[i] << 1;
			}

			for (int i = 0; i < (strlen(source_address) - 1); i++) {
				content_formatted[content_pointer++] = source_address[i] << 1;
			}

			// Set LSB
			content_formatted[content_pointer++] = (source_address[strlen(
					source_address) - 1] << 1) | 0x01;

			//
			content_formatted[content_pointer++] = 0x03; // Control Field
			content_formatted[content_pointer++] = 0xF0; // Protocol ID

			for (int i = 0; i < strlen(message); i++) {
				content_formatted[content_pointer++] = message[i];
			}

			uint16_t crc;
			crc = sysCRC16(content_formatted, content_pointer, 0xffff);

			content_formatted[content_pointer++] = ((crc) & 0xFF);
			content_formatted[content_pointer++] = ((crc >> 8) & 0xFF);

			// 3 bit frequency lookup table for sine
			double deviation = 0.003; // deviation in megahertz
			uint32_t f_lut[8];
			for (int i = 0; i < 8; i++) {
				f_lut[i] = ComputeRfFreq(
						center_freq
								+ 0.5 * deviation
										* sin(2.0 * M_PI * (double) i / 8.0));
			}

			// Numerically controlled oscillator
			uint16_t NCO_accumulator = 0;
			uint16_t NCO_addition = 0x2000;
			uint16_t delta_1200 = 0x2000;
			uint16_t delta_2200 = 0x3aab;

			bool tncTxBit = true; // The bit being transmitted. True = 1, false = 0
			uint8_t ones_counter = 0; // Keep track of number if stuffing is needed (5 ones in a row)

			SetStandbyXOSC();
			HAL_Delay(1);
			SetTxPower(maxPower);
			//SetTxInfinitePreamble();

			uint32_t last_time = __HAL_TIM_GET_COUNTER(&htim2);

			void transmit_bit() {
				// Transmits a bit with a NCO
				for (int sample = 0; sample < 8; sample++) {
					// Wait until correct cycle
					while ((__HAL_TIM_GET_COUNTER(&htim2) - last_time) < 104) {
					}
					last_time = __HAL_TIM_GET_COUNTER(&htim2);

					NCO_accumulator += NCO_addition;
					int current_freq_idx = (NCO_accumulator >> 13) & 0b111;
					uint32_t rfFreq = f_lut[current_freq_idx];

					uint8_t txbuf[5] = { 0x86, (rfFreq & 0xFF000000) >> 24,
							(rfFreq & 0x00FF0000) >> 16, (rfFreq & 0x0000FF00)
									>> 8, rfFreq & 0x000000FF };

					/* NSS = 0 */
					LL_PWR_SelectSUBGHZSPI_NSS();

					for (uint16_t i = 0U; i < 5; i++) {
						(void) SUBGHZSPI_Transmit(&hsubghz, txbuf[i]);
					}

					/* NSS = 1 */
					LL_PWR_UnselectSUBGHZSPI_NSS();
				}
			}

			// Start synthesis
			SetRfFreq(f_lut[0]);
			SetContinuousWave();

			uint8_t flag = 0x7E; // Frame marker
			for (int i = 0; i < 30; i++) {
				for (int bit = 0; bit < 8; bit++) {
					if ((flag >> bit) & 0x01) {
						ones_counter += 1;
					} else {
						tncTxBit = !tncTxBit; // Flip
						ones_counter = 0;
					}

					NCO_addition = tncTxBit ? delta_1200 : delta_2200;
					transmit_bit();
				}
			}

			// Actual frame data

			for (int byte = 0; byte < content_pointer; byte++) {
				for (int bit = 0; bit < 8; bit++) {
					if (((content_formatted[byte] >> bit) & 0x01) == 0x01) {
						ones_counter += 1;
					} else {
						tncTxBit = !tncTxBit;
						ones_counter = 0;
					}

					NCO_addition = tncTxBit ? delta_1200 : delta_2200;
					transmit_bit();

					// If bit stuffing is needed
					if (ones_counter == 5) {
						tncTxBit = !tncTxBit;
						ones_counter = 0;
						NCO_addition = tncTxBit ? delta_1200 : delta_2200;

						transmit_bit();
					}
				}
			}

			// End frame marker
			for (int i = 0; i < 30; i++) {
				for (int bit = 0; bit < 8; bit++) {
					if ((flag >> bit) & 0x01) {
						ones_counter += 1;
					} else {
						tncTxBit = !tncTxBit; //Flip
						ones_counter = 0;
					}

					NCO_addition = tncTxBit ? delta_1200 : delta_2200;
					transmit_bit();
				}
			}

			HAL_Delay(1);

			SetStandbyXOSC();
			HAL_Delay(5);
		}

		/* USER CODE END WHILE */

		/* USER CODE BEGIN 3 */
	}

	// Standard beacon function:
	while (1) {
		// Radio stuff
		if (CallsignTF) {
			play_morse_word(callsign, sizeof(callsign) - 1, false);
		}

		LED_off();

		HAL_Delay(gap);
		for (int i = 0; i < loopCounter - 1; i++) {
			SetRfFreq(ComputeRfFreq(center_freq * freq_correction));
			// FSK beeps

			if (FSKbeep) {
				if (FSKHigh2Low) {
					for (int j = 0; j < FSKbeepcount; j++) {
						LED_on();
						FSKBeep(FSKTXpwrs[j], FSKtones[j], FSKbeepIndLength);
						LED_off();
						HAL_Delay(FSKbeepGapLength);
					}
				} else {
					for (int j = 0; j < FSKbeepcount; j++) {
						LED_on();
						FSKBeep(FSKTXpwrs[FSKbeepcount - 1 - j], FSKtones[j],
								FSKbeepIndLength);
						LED_off();
						HAL_Delay(FSKbeepGapLength);
					}
				}
				HAL_Delay(gap);
			}
			if (CWbeep) {
				if (CWHigh2Low) {
					for (int j = 0; j < CWbeepcount; j++) {
						LED_on();
						SetRfFreq(
								ComputeRfFreq(
										(center_freq
												+ 0.000001 * CWbeepOffset * j)
												* freq_correction));
						CWBeep(CWTXpwrs[j], CWbeepIndLength);
						LED_off();
						HAL_Delay(CWbeepGapLength);
					}
				} else {
					for (int j = 0; j < CWbeepcount; j++) {
						LED_on();
						SetRfFreq(
								ComputeRfFreq(
										(center_freq
												+ 0.000001 * CWbeepOffset * j)
												* freq_correction));
						CWBeep(CWTXpwrs[CWbeepcount - 1 - j], CWbeepIndLength);
						LED_off();
						HAL_Delay(CWbeepGapLength);
					}
				}
				HAL_Delay(gap);
			}
		}

		/* USER CODE END WHILE */

		/* USER CODE BEGIN 3 */
	}
	/* USER CODE END 3 */
}

void SystemClock_Config(void) {
	RCC_OscInitTypeDef RCC_OscInitStruct = { 0 };
	RCC_ClkInitTypeDef RCC_ClkInitStruct = { 0 };

	/** Configure the main internal regulator output voltage
	 */
	__HAL_PWR_VOLTAGESCALING_CONFIG(PWR_REGULATOR_VOLTAGE_SCALE1);

	/** Initializes the CPU, AHB and APB buses clocks
	 */
	RCC_OscInitStruct.OscillatorType = RCC_OSCILLATORTYPE_HSE;
	RCC_OscInitStruct.HSEState = RCC_HSE_ON;
	RCC_OscInitStruct.HSEDiv = RCC_HSE_DIV1;
	RCC_OscInitStruct.PLL.PLLState = RCC_PLL_NONE;
	if (HAL_RCC_OscConfig(&RCC_OscInitStruct) != HAL_OK) {
		Error_Handler();
	}

	/** Configure the SYSCLKSource, HCLK, PCLK1 and PCLK2 clocks dividers
	 */
	RCC_ClkInitStruct.ClockType = RCC_CLOCKTYPE_HCLK3 | RCC_CLOCKTYPE_HCLK
			| RCC_CLOCKTYPE_SYSCLK | RCC_CLOCKTYPE_PCLK1 | RCC_CLOCKTYPE_PCLK2;
	RCC_ClkInitStruct.SYSCLKSource = RCC_SYSCLKSOURCE_HSE;
	RCC_ClkInitStruct.AHBCLKDivider = RCC_SYSCLK_DIV1;
	RCC_ClkInitStruct.APB1CLKDivider = RCC_HCLK_DIV1;
	RCC_ClkInitStruct.APB2CLKDivider = RCC_HCLK_DIV1;
	RCC_ClkInitStruct.AHBCLK3Divider = RCC_SYSCLK_DIV1;

	if (HAL_RCC_ClockConfig(&RCC_ClkInitStruct, FLASH_LATENCY_1) != HAL_OK) {
		Error_Handler();
	}
}

static void MX_ADC_Init(void) {

	/** Configure the global features of the ADC (Clock, Resolution, Data Alignment and number of conversion)
	 */
	hadc.Instance = ADC;
	hadc.Init.ClockPrescaler = ADC_CLOCK_SYNC_PCLK_DIV1;
	hadc.Init.Resolution = ADC_RESOLUTION_12B;
	hadc.Init.DataAlign = ADC_DATAALIGN_RIGHT;
	hadc.Init.ScanConvMode = ADC_SCAN_DISABLE;
	hadc.Init.EOCSelection = ADC_EOC_SINGLE_CONV;
	hadc.Init.LowPowerAutoWait = DISABLE;
	hadc.Init.LowPowerAutoPowerOff = DISABLE;
	hadc.Init.ContinuousConvMode = DISABLE;
	hadc.Init.NbrOfConversion = 1;
	hadc.Init.DiscontinuousConvMode = DISABLE;
	hadc.Init.ExternalTrigConv = ADC_SOFTWARE_START;
	hadc.Init.ExternalTrigConvEdge = ADC_EXTERNALTRIGCONVEDGE_NONE;
	hadc.Init.DMAContinuousRequests = DISABLE;
	hadc.Init.Overrun = ADC_OVR_DATA_PRESERVED;
	hadc.Init.SamplingTimeCommon1 = ADC_SAMPLETIME_1CYCLE_5;
	hadc.Init.SamplingTimeCommon2 = ADC_SAMPLETIME_1CYCLE_5;
	hadc.Init.OversamplingMode = DISABLE;
	hadc.Init.TriggerFrequencyMode = ADC_TRIGGER_FREQ_HIGH;
	if (HAL_ADC_Init(&hadc) != HAL_OK) {
		Error_Handler();
	}

}

static void MX_COMP2_Init(void) {

	hcomp2.Instance = COMP2;
	hcomp2.Init.InputMinus = COMP_INPUT_MINUS_3_4VREFINT;
	hcomp2.Init.InputPlus = COMP_INPUT_PLUS_IO1;
	hcomp2.Init.OutputPol = COMP_OUTPUTPOL_NONINVERTED;
	hcomp2.Init.Hysteresis = COMP_HYSTERESIS_NONE;
	hcomp2.Init.BlankingSrce = COMP_BLANKINGSRC_NONE;
	hcomp2.Init.Mode = COMP_POWERMODE_HIGHSPEED;
	hcomp2.Init.WindowMode = COMP_WINDOWMODE_DISABLE;
	hcomp2.Init.TriggerMode = COMP_TRIGGERMODE_NONE;
	if (HAL_COMP_Init(&hcomp2) != HAL_OK) {
		Error_Handler();
	}

}

static void MX_CRC_Init(void) {

	hcrc.Instance = CRC;
	hcrc.Init.DefaultPolynomialUse = DEFAULT_POLYNOMIAL_ENABLE;
	hcrc.Init.DefaultInitValueUse = DEFAULT_INIT_VALUE_ENABLE;
	hcrc.Init.InputDataInversionMode = CRC_INPUTDATA_INVERSION_NONE;
	hcrc.Init.OutputDataInversionMode = CRC_OUTPUTDATA_INVERSION_DISABLE;
	hcrc.InputDataFormat = CRC_INPUTDATA_FORMAT_BYTES;
	if (HAL_CRC_Init(&hcrc) != HAL_OK) {
		Error_Handler();
	}

}

static void MX_SPI1_Init(void) {

	/* SPI1 parameter configuration*/
	hspi1.Instance = SPI1;
	hspi1.Init.Mode = SPI_MODE_MASTER;
	hspi1.Init.Direction = SPI_DIRECTION_2LINES;
	hspi1.Init.DataSize = SPI_DATASIZE_8BIT;
	hspi1.Init.CLKPolarity = SPI_POLARITY_LOW;
	hspi1.Init.CLKPhase = SPI_PHASE_1EDGE;
	hspi1.Init.NSS = SPI_NSS_SOFT;
	hspi1.Init.BaudRatePrescaler = SPI_BAUDRATEPRESCALER_16;
	hspi1.Init.FirstBit = SPI_FIRSTBIT_MSB;
	hspi1.Init.TIMode = SPI_TIMODE_DISABLE;
	hspi1.Init.CRCCalculation = SPI_CRCCALCULATION_DISABLE;
	hspi1.Init.CRCPolynomial = 7;
	hspi1.Init.CRCLength = SPI_CRC_LENGTH_DATASIZE;
	hspi1.Init.NSSPMode = SPI_NSS_PULSE_ENABLE;
	if (HAL_SPI_Init(&hspi1) != HAL_OK) {
		Error_Handler();
	}

}

void MX_SUBGHZ_Init(void) {

	hsubghz.Init.BaudratePrescaler = SUBGHZSPI_BAUDRATEPRESCALER_2;
	if (HAL_SUBGHZ_Init(&hsubghz) != HAL_OK) {
		Error_Handler();
	}

}

static void MX_TIM2_Init(void) {

	TIM_ClockConfigTypeDef sClockSourceConfig = { 0 };
	TIM_MasterConfigTypeDef sMasterConfig = { 0 };

	htim2.Instance = TIM2;
	htim2.Init.Prescaler = 32;
	htim2.Init.CounterMode = TIM_COUNTERMODE_UP;
	htim2.Init.Period = 4294967295;
	htim2.Init.ClockDivision = TIM_CLOCKDIVISION_DIV1;
	htim2.Init.AutoReloadPreload = TIM_AUTORELOAD_PRELOAD_DISABLE;
	if (HAL_TIM_Base_Init(&htim2) != HAL_OK) {
		Error_Handler();
	}
	sClockSourceConfig.ClockSource = TIM_CLOCKSOURCE_INTERNAL;
	if (HAL_TIM_ConfigClockSource(&htim2, &sClockSourceConfig) != HAL_OK) {
		Error_Handler();
	}
	sMasterConfig.MasterOutputTrigger = TIM_TRGO_RESET;
	sMasterConfig.MasterSlaveMode = TIM_MASTERSLAVEMODE_DISABLE;
	if (HAL_TIMEx_MasterConfigSynchronization(&htim2, &sMasterConfig)
			!= HAL_OK) {
		Error_Handler();
	}

}

static void MX_USART2_UART_Init(void) {

	huart2.Instance = USART2;
	huart2.Init.BaudRate = 9600;
	huart2.Init.WordLength = UART_WORDLENGTH_8B;
	huart2.Init.StopBits = UART_STOPBITS_1;
	huart2.Init.Parity = UART_PARITY_NONE;
	huart2.Init.Mode = UART_MODE_TX_RX;
	huart2.Init.HwFlowCtl = UART_HWCONTROL_NONE;
	huart2.Init.OverSampling = UART_OVERSAMPLING_16;
	huart2.Init.OneBitSampling = UART_ONE_BIT_SAMPLE_DISABLE;
	huart2.Init.ClockPrescaler = UART_PRESCALER_DIV1;
	huart2.AdvancedInit.AdvFeatureInit = UART_ADVFEATURE_NO_INIT;
	if (HAL_UART_Init(&huart2) != HAL_OK) {
		Error_Handler();
	}
	if (HAL_UARTEx_SetTxFifoThreshold(&huart2, UART_TXFIFO_THRESHOLD_1_8)
			!= HAL_OK) {
		Error_Handler();
	}
	if (HAL_UARTEx_SetRxFifoThreshold(&huart2, UART_RXFIFO_THRESHOLD_1_8)
			!= HAL_OK) {
		Error_Handler();
	}
	if (HAL_UARTEx_DisableFifoMode(&huart2) != HAL_OK) {
		Error_Handler();
	}

}

static void MX_GPIO_Init(void) {
	GPIO_InitTypeDef GPIO_InitStruct = { 0 };

	/* GPIO Ports Clock Enable */
	__HAL_RCC_GPIOB_CLK_ENABLE();
	__HAL_RCC_GPIOA_CLK_ENABLE();
	__HAL_RCC_GPIOH_CLK_ENABLE();
	__HAL_RCC_GPIOC_CLK_ENABLE();

	/*Configure GPIO pin Output Level */
	HAL_GPIO_WritePin(GPIOA,
	BUZZER_Pin | LED_Pin | CS_FLASH_Pin | CS_IMU_Pin | PYRO2_Pin | PYRO1_Pin,
			GPIO_PIN_RESET);

	/*Configure GPIO pin Output Level */
	HAL_GPIO_WritePin(CS_BARO_GPIO_Port, CS_BARO_Pin, GPIO_PIN_RESET);

	/*Configure GPIO pins : BUZZER_Pin LED_Pin CS_FLASH_Pin CS_IMU_Pin
	 PYRO2_Pin PYRO1_Pin */
	GPIO_InitStruct.Pin = BUZZER_Pin | LED_Pin | CS_FLASH_Pin | CS_IMU_Pin
			| PYRO2_Pin | PYRO1_Pin;
	GPIO_InitStruct.Mode = GPIO_MODE_OUTPUT_PP;
	GPIO_InitStruct.Pull = GPIO_NOPULL;
	GPIO_InitStruct.Speed = GPIO_SPEED_FREQ_LOW;
	HAL_GPIO_Init(GPIOA, &GPIO_InitStruct);

	/*Configure GPIO pin : BOOT_Pin */
	GPIO_InitStruct.Pin = BOOT_Pin;
	GPIO_InitStruct.Mode = GPIO_MODE_INPUT;
	GPIO_InitStruct.Pull = GPIO_NOPULL;
	HAL_GPIO_Init(BOOT_GPIO_Port, &GPIO_InitStruct);

	/*Configure GPIO pin : CS_BARO_Pin */
	GPIO_InitStruct.Pin = CS_BARO_Pin;
	GPIO_InitStruct.Mode = GPIO_MODE_OUTPUT_PP;
	GPIO_InitStruct.Pull = GPIO_NOPULL;
	GPIO_InitStruct.Speed = GPIO_SPEED_FREQ_LOW;
	HAL_GPIO_Init(CS_BARO_GPIO_Port, &GPIO_InitStruct);

	/*Configure GPIO pins : PYRO2_CON_Pin PYRO1_CON_Pin */
	GPIO_InitStruct.Pin = PYRO2_CON_Pin | PYRO1_CON_Pin;
	GPIO_InitStruct.Mode = GPIO_MODE_INPUT;
	GPIO_InitStruct.Pull = GPIO_NOPULL;
	HAL_GPIO_Init(GPIOC, &GPIO_InitStruct);

}

/* USER CODE BEGIN 4 */
void SetStandbyXOSC() {
	uint8_t txbuf[2] = { 0x80, 0x01 };
	HAL_SUBGHZ_ExecSetCmd(&hsubghz, txbuf[0], txbuf + 1, sizeof(txbuf) - 1);
}

void SetPacketTypeLora() {
	uint8_t txbuf[2] = { 0x8A, 0x01 };
	HAL_SUBGHZ_ExecSetCmd(&hsubghz, txbuf[0], txbuf + 1, sizeof(txbuf) - 1);
}

void SetPacketTypeFSK() {
	uint8_t txbuf[2] = { 0x8A, 0x00 };
	HAL_SUBGHZ_ExecSetCmd(&hsubghz, txbuf[0], txbuf + 1, sizeof(txbuf) - 1);
}

uint32_t ComputeRfFreq(double frequencyMhz) {
	return (uint32_t) (frequencyMhz * 1048576L); //2^25/(32e6)
}

void SetRfFreq(uint32_t rfFreq) {
	uint8_t txbuf[5] = { 0x86, (rfFreq & 0xFF000000) >> 24,
			(rfFreq & 0x00FF0000) >> 16, (rfFreq & 0x0000FF00) >> 8, rfFreq
					& 0x000000FF };
	HAL_SUBGHZ_ExecSetCmd(&hsubghz, txbuf[0], txbuf + 1, sizeof(txbuf) - 1);
}

void SetPaLowPower() {
	// set Pa to 14 dB.
	uint8_t txbuf[5] = { 0x95, 0x02, 0x02, 0x00, 0x01 };
	HAL_SUBGHZ_ExecSetCmd(&hsubghz, txbuf[0], txbuf + 1, sizeof(txbuf) - 1);
}

void SetPa22dB() {
	// set Pa to the highest 22 dBm
	uint8_t txbuf[5] = { 0x95, 0x04, 0x07, 0x00, 0x01 };
	HAL_SUBGHZ_ExecSetCmd(&hsubghz, txbuf[0], txbuf + 1, sizeof(txbuf) - 1);
}

void SetTxPower(int8_t powerdBm) {
	// Between -9 and 22
	int8_t power = powerdBm < -9 ? -9 : ((powerdBm > 22) ? 22 : powerdBm);
	uint8_t txbuf[3] = { 0x8E, (uint8_t) power, 0x02 };
	HAL_SUBGHZ_ExecSetCmd(&hsubghz, txbuf[0], txbuf + 1, sizeof(txbuf) - 1);
}

void SetContinuousWave() {
	uint8_t txbuf[1] = { 0xD1 };
	HAL_SUBGHZ_ExecSetCmd(&hsubghz, txbuf[0], txbuf, 0);
}

void SetTxInfinitePreamble() {
	uint8_t txbuf[1] = { 0xD2 };
	HAL_SUBGHZ_ExecSetCmd(&hsubghz, txbuf[0], txbuf, 0);
}

void SetTx(uint32_t timeout) {
	// Timeout * 15.625 µs
	uint8_t txbuf[4] = { 0x83, (timeout & 0x00FF0000) >> 16, (timeout
			& 0x0000FF00) >> 8, timeout & 0x000000FF };
	HAL_SUBGHZ_ExecSetCmd(&hsubghz, txbuf[0], txbuf + 1, sizeof(txbuf) - 1);
}

void SetRx(uint32_t timeout) {
	// Timeout * 15.625 µs
	// 0x000000 No timeout. Rx Single mode
	// 0xFFFFFF Rx Continuous mode. The device remains in RX mode until the host sends a command to change the operation mode
	uint8_t txbuf[4] = { 0x82, (timeout & 0x00FF0000) >> 16, (timeout
			& 0x0000FF00) >> 8, timeout & 0x000000FF };
	HAL_SUBGHZ_ExecSetCmd(&hsubghz, txbuf[0], txbuf + 1, sizeof(txbuf) - 1);
}

void SetModulationParamsLora(const uint8_t params[4]) {
	uint8_t txbuf[5] = { 0x8B, params[0], params[1], params[2], params[3] };
	HAL_SUBGHZ_ExecSetCmd(&hsubghz, txbuf[0], txbuf + 1, sizeof(txbuf) - 1);
}

void SetModulationParamsFSK(uint32_t bitrate, uint8_t pulseshape,
		uint8_t bandwidth, uint32_t freq_dev) {
	uint32_t BR = 32 * 32e6 / bitrate;
	uint32_t fdev = (uint32_t) (freq_dev * 1.048576L); // 2^25/32e6 = 1.048576
	uint8_t txbuf[9] = { 0x8B, (BR & 0x00FF0000) >> 16, (BR & 0x0000FF00) >> 8,
			BR & 0x000000FF, pulseshape, bandwidth, (fdev & 0x00FF0000) >> 16,
			(fdev & 0x0000FF00) >> 8, fdev & 0x000000FF };
	HAL_SUBGHZ_ExecSetCmd(&hsubghz, txbuf[0], txbuf + 1, sizeof(txbuf) - 1);
}

void SetPacketParamsGeneric(uint16_t preamble_length,
		uint8_t preamble_det_length, uint8_t sync_length, uint8_t addr_comp,
		uint8_t pkt_type, uint8_t payloadlength, uint8_t crc_type,
		uint8_t whitening) {

	uint8_t txbuf[10] = { 0x8C, (preamble_length >> 8) & 0xFF, preamble_length
			& 0xFF, 0b00000111 & preamble_det_length, 0b01111111 & sync_length,
			0b00000011 & addr_comp, 0b00000011 & pkt_type, payloadlength,
			0b00000011 & crc_type, 0b00000001 & whitening };

	HAL_SUBGHZ_ExecSetCmd(&hsubghz, txbuf[0], txbuf + 1, sizeof(txbuf) - 1);
}

void SetPacketParamsLora(uint16_t preamble_length, bool header_fixed,
		uint8_t payload_length, bool crc_enabled, bool invert_iq) {
	uint8_t txbuf[7] = { 0x8C, (uint8_t) ((preamble_length >> 8) & 0xFF),
			(uint8_t) (preamble_length & 0xFF), (uint8_t) header_fixed,
			payload_length, (uint8_t) crc_enabled, (uint8_t) invert_iq };

	HAL_SUBGHZ_ExecSetCmd(&hsubghz, txbuf[0], txbuf + 1, sizeof(txbuf) - 1);
}
/*
 void WriteBuffer(uint8_t offset, uint8_t *data, uint8_t len) {
 HAL_SUBGHZ_WriteBuffer(&hsubghz, offset, data, len);
 }

 void ReadBuffer(uint8_t offset, uint8_t *data, uint8_t len) {
 HAL_SUBGHZ_ReadBuffer(&hsubghz, offset, data, len);
 }
 */
void FSKBeep(int8_t powerdBm, uint32_t toneHz, uint32_t lengthMs) {
	// assume in standbyXOSC already.
	HAL_Delay(1);
	SetTxPower(powerdBm);
	SetModulationParamsFSK(toneHz * 2, 0x09, 0x1E, 2500);
	HAL_Delay(5);
	SetTxInfinitePreamble();
	HAL_Delay(lengthMs);
	SetStandbyXOSC();
	HAL_Delay(5);
}

void CWBeep(int8_t powerdBm, uint32_t lengthMs) {
	HAL_Delay(1);
	SetTxPower(powerdBm);
	HAL_Delay(5);
	SetContinuousWave();
	HAL_Delay(lengthMs);
	SetStandbyXOSC();
	HAL_Delay(5);
}
/* USER CODE END 4 */

void Error_Handler(void) {
	__disable_irq();
	while (1) {
	}
}
